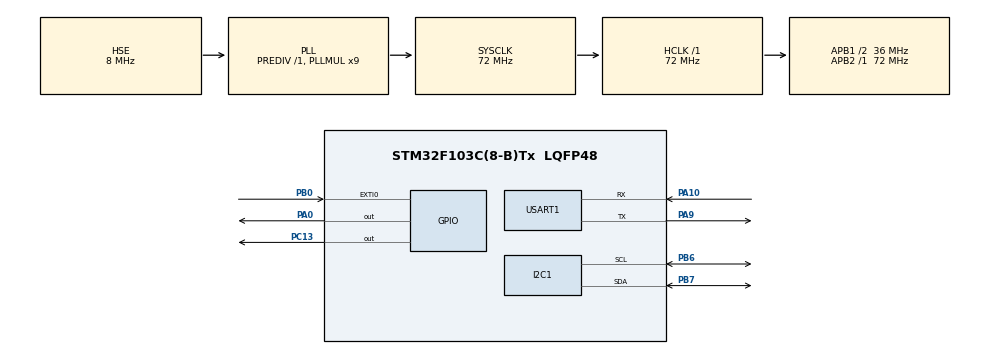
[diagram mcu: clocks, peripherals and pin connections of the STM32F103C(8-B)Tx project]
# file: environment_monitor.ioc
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FREERTOS.Tasks01=defaultTask,24,128,StartDefaultTask,Default,NULL,Dynamic,NULL,NULL
FREERTOS.configTOTAL_HEAP_SIZE=7168
Mcu.Family=STM32F1
Mcu.Name=STM32F103C(8-B)Tx
Mcu.Package=LQFP48
NVIC.EXTI0_IRQn=true\:8\:0\:true\:false\:true\:true\:true\:true\:true
NVIC.PriorityGroup=NVIC_PRIORITYGROUP_4
NVIC.TIM4_IRQn=true\:15\:0\:false\:false\:true\:false\:false\:true\:true
NVIC.TimeBase=TIM4_IRQn
NVIC.TimeBaseIP=TIM4
PA0-WKUP.GPIO_ModeDefaultOutputPP=GPIO_MODE_OUTPUT_OD
PA0-WKUP.GPIO_PuPd=GPIO_NOPULL
PA0-WKUP.GPIO_Speed=GPIO_SPEED_FREQ_HIGH
PA0-WKUP.PinState=GPIO_PIN_SET
PA0-WKUP.Signal=GPIO_Output
PA10.Mode=Asynchronous
PA10.Signal=USART1_RX
PA13.Mode=Serial_Wire
PA13.Signal=SYS_JTMS-SWDIO
PA14.Mode=Serial_Wire
PA14.Signal=SYS_JTCK-SWCLK
PA9.Mode=Asynchronous
PA9.Signal=USART1_TX
PB0.GPIO_ModeDefaultEXTI=GPIO_MODE_IT_RISING_FALLING
PB0.GPIO_PuPd=GPIO_PULLUP
PB0.Signal=GPXTI0
PB6.Mode=I2C
PB6.Signal=I2C1_SCL
PB7.Mode=I2C
PB7.Signal=I2C1_SDA
PC13-TAMPER-RTC.GPIO_ModeDefaultOutputPP=GPIO_MODE_OUTPUT_PP
PC13-TAMPER-RTC.GPIO_Speed=GPIO_SPEED_FREQ_HIGH
PC13-TAMPER-RTC.PinState=GPIO_PIN_SET
PC13-TAMPER-RTC.Signal=GPIO_Output
PD0-OSC_IN.Mode=HSE-External-Oscillator
PD0-OSC_IN.Signal=RCC_OSC_IN
PD1-OSC_OUT.Mode=HSE-External-Oscillator
PD1-OSC_OUT.Signal=RCC_OSC_OUT
ProjectManager.HeapSize=0x200
ProjectManager.StackSize=0x400
ProjectManager.TargetToolchain=MDK-ARM V5.32
RCC.AHBFreq_Value=72000000
RCC.APB1CLKDivider=RCC_HCLK_DIV2
RCC.APB1Freq_Value=36000000
RCC.APB1TimFreq_Value=72000000
RCC.APB2Freq_Value=72000000
RCC.APB2TimFreq_Value=72000000
RCC.HCLKFreq_Value=72000000
RCC.PLLMUL=RCC_PLL_MUL9
RCC.PLLSourceVirtual=RCC_PLLSOURCE_HSE
RCC.SYSCLKFreq_VALUE=72000000
RCC.SYSCLKSource=RCC_SYSCLKSOURCE_PLLCLK
RCC.USBFreq_Value=72000000
TIM1.AutoReloadPreload=TIM_AUTORELOAD_PRELOAD_ENABLE
TIM1.Period=65535
TIM1.Prescaler=71
TIM2.AutoReloadPreload=TIM_AUTORELOAD_PRELOAD_ENABLE
TIM2.Period=65535
TIM2.Prescaler=35999
USART1.VirtualMode=VM_ASYNC
VP_FREERTOS_VS_CMSIS_V2.Mode=CMSIS_V2
VP_SYS_VS_tim4.Mode=TIM4
VP_TIM1_VS_ClockSourceINT.Mode=Internal
VP_TIM2_VS_ClockSourceINT.Mode=Internal
board=custom

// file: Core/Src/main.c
/* USER CODE BEGIN Header */
/**
  ******************************************************************************
  * @file           : main.c
  * @brief          : Main program body
  ******************************************************************************
  * @attention
  *
  * Copyright (c) 2026 STMicroelectronics.
  * All rights reserved.
  *
  * This software is licensed under terms that can be found in the LICENSE file
  * in the root directory of this software component.
  * If no LICENSE file comes with this software, it is provided AS-IS.
  *
  ******************************************************************************
  */
/* USER CODE END Header */
#include "main.h"
#include "cmsis_os.h"
#include "i2c.h"
#include "tim.h"
#include "usart.h"
#include "gpio.h"

/* USER CODE BEGIN Includes */
#include "stm32f1xx_hal.h"
#include "driver_oled.h"
#include "driver_dht22.h"
#include "driver_key.h"
#include "queue.h"
#include <string.h>
/* USER CODE END Includes */

/* USER CODE BEGIN PV */

uint8_t g_u8KeyEventOccurs;
extern QueueHandle_t g_xKeyQueueHandle;
/* USER CODE END PV */

void SystemClock_Config(void);
void MX_FREERTOS_Init(void);

int main(void)
{

  /* MCU Configuration--------------------------------------------------------*/

  /* Reset of all peripherals, Initializes the Flash interface and the Systick. */
  HAL_Init();

  /* Configure the system clock */
  SystemClock_Config();

  /* Initialize all configured peripherals */
  MX_GPIO_Init();
  MX_TIM1_Init();
  MX_I2C1_Init();
  MX_USART1_UART_Init();
  MX_TIM2_Init();
  /* USER CODE BEGIN 2 */
  HAL_TIM_Base_Start(&htim1);
  HAL_TIM_Base_Start(&htim2);
  OLED_Init();
  HAL_Delay(2000); //等待传感器上电稳定
  /* USER CODE END 2 */

  /* Init scheduler */
  osKernelInitialize();  /* Call init function for freertos objects (in cmsis_os2.c) */
  MX_FREERTOS_Init();

  /* Start scheduler */
  osKernelStart();

  /* We should never get here as control is now taken by the scheduler */

  /* Infinite loop */
  while (1)
  {

    /* USER CODE BEGIN 3 */

    /*if(Get_Dht22_Data(&sensor_data))
    {
		float tmp = sensor_data.temperature/10.0f;
		float hum = sensor_data.humidity/10.0f;
		USART_Printf(&huart1, "Temperature:%0.1f \u00B0C\r\n",tmp);//℃的编码\u00B0C
		USART_Printf(&huart1, "Humidity:%0.1f %%RH\r\n",hum);
		USART_Printf(&huart1, "\r\n");
	}*/

	//HAL_Delay(2000);//采样周期

  }
  /* USER CODE END 3 */
}

void SystemClock_Config(void)
{
  RCC_OscInitTypeDef RCC_OscInitStruct = {0};
  RCC_ClkInitTypeDef RCC_ClkInitStruct = {0};

  /** Initializes the RCC Oscillators according to the specified parameters
  * in the RCC_OscInitTypeDef structure.
  */
  RCC_OscInitStruct.OscillatorType = RCC_OSCILLATORTYPE_HSE;
  RCC_OscInitStruct.HSEState = RCC_HSE_ON;
  RCC_OscInitStruct.HSEPredivValue = RCC_HSE_PREDIV_DIV1;
  RCC_OscInitStruct.HSIState = RCC_HSI_ON;
  RCC_OscInitStruct.PLL.PLLState = RCC_PLL_ON;
  RCC_OscInitStruct.PLL.PLLSource = RCC_PLLSOURCE_HSE;
  RCC_OscInitStruct.PLL.PLLMUL = RCC_PLL_MUL9;
  if (HAL_RCC_OscConfig(&RCC_OscInitStruct) != HAL_OK)
  {
    Error_Handler();
  }

  /** Initializes the CPU, AHB and APB buses clocks
  */
  RCC_ClkInitStruct.ClockType = RCC_CLOCKTYPE_HCLK|RCC_CLOCKTYPE_SYSCLK
                              |RCC_CLOCKTYPE_PCLK1|RCC_CLOCKTYPE_PCLK2;
  RCC_ClkInitStruct.SYSCLKSource = RCC_SYSCLKSOURCE_PLLCLK;
  RCC_ClkInitStruct.AHBCLKDivider = RCC_SYSCLK_DIV1;
  RCC_ClkInitStruct.APB1CLKDivider = RCC_HCLK_DIV2;
  RCC_ClkInitStruct.APB2CLKDivider = RCC_HCLK_DIV1;

  if (HAL_RCC_ClockConfig(&RCC_ClkInitStruct, FLASH_LATENCY_2) != HAL_OK)
  {
    Error_Handler();
  }
}

/* USER CODE BEGIN 4 */
void HAL_GPIO_EXTI_Callback(uint16_t GPIO_Pin)
{
	static Key_DataT idata = {0};
	static  uint16_t now = 0;
	static  uint16_t last_time = 0;

	now = __HAL_TIM_GET_COUNTER(&htim2);

	if(now - last_time < 40)//20ms，消抖
	{
		last_time = now;
		return;
	}

	last_time = now;

	//读取电平判断当前是按下还是松开事件
	if(HAL_GPIO_ReadPin(KEY_GPIO_PORT, KEY_GPIO_PIN) == GPIO_PIN_RESET)
	{
		idata.cnt = now;
		idata.event_type = KEY_EVENT_TYPE_PRESS;
		xQueueSendFromISR(g_xKeyQueueHandle, &idata, NULL);
	}
	else
	{
		//松开事件1s超时，不入队列
		if((now - idata.cnt) < 2000)
		{
			idata.cnt = now;
			idata.event_type = KEY_EVENT_TYPE_UNPRESS;
			xQueueSendFromISR(g_xKeyQueueHandle, &idata, NULL);
		}
		else //超时清除之前按下事件入队数据
			memset((uint8_t*)&idata, 0, sizeof(Key_DataT));
	}

}
/* USER CODE END 4 */

void HAL_TIM_PeriodElapsedCallback(TIM_HandleTypeDef *htim)
{
  if (htim->Instance == TIM4)
  {
    HAL_IncTick();
  }
}

void Error_Handler(void)
{
  __disable_irq();
  while (1)
  {
  }
}

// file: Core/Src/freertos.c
/* USER CODE BEGIN Header */
/**
  ******************************************************************************
  * File Name          : freertos.c
  * Description        : Code for freertos applications
  ******************************************************************************
  * @attention
  *
  * Copyright (c) 2026 STMicroelectronics.
  * All rights reserved.
  *
  * This software is licensed under terms that can be found in the LICENSE file
  * in the root directory of this software component.
  * If no LICENSE file comes with this software, it is provided AS-IS.
  *
  ******************************************************************************
  */
/* USER CODE END Header */

#include "FreeRTOS.h"
#include "task.h"
#include "main.h"
#include "cmsis_os.h"

/* USER CODE BEGIN Includes */
#include "queue.h"
#include "driver_key.h"
#include "driver_oled.h"
#include "driver_dht22.h"
#include "driver_led.h"
/* USER CODE END Includes */

/* USER CODE BEGIN Variables */
TaskHandle_t g_xSensorTaskHandle;
TaskHandle_t g_xOledTaskHandle;
TaskHandle_t g_xKeyTaskHandle;
TaskHandle_t g_xLedTaskHandle;

QueueHandle_t g_xOledQueueHandle;
QueueHandle_t g_xKeyQueueHandle;

extern char g_xStateList[][10];

/* USER CODE END Variables */
/* Definitions for defaultTask */
osThreadId_t defaultTaskHandle;
const osThreadAttr_t defaultTask_attributes = {
  .name = "defaultTask",
  .stack_size = 128 * 4,
  .priority = (osPriority_t) osPriorityNormal,
};

/* USER CODE BEGIN FunctionPrototypes */
void KeyTask(void* params);
void SensorTask(void* params);
void OledTask(void* params);
void LedTask(void* params);
/* USER CODE END FunctionPrototypes */

void StartDefaultTask(void *argument);

void MX_FREERTOS_Init(void); /* (MISRA C 2004 rule 8.1) */

void MX_FREERTOS_Init(void) {

  /* USER CODE BEGIN RTOS_QUEUES */
  /* add queues, ... */
	g_xOledQueueHandle = xQueueCreate(OLED_QUEUE_LENGTH, sizeof(Oled_DataT));
	g_xKeyQueueHandle = xQueueCreate(KEY_QUEUE_LEN, sizeof(Key_DataT));
  /* USER CODE END RTOS_QUEUES */

  /* Create the thread(s) */
  /* creation of defaultTask */
  defaultTaskHandle = osThreadNew(StartDefaultTask, NULL, &defaultTask_attributes);

  /* USER CODE BEGIN RTOS_THREADS */

  xTaskCreate(KeyTask, "KeyTask", 128, NULL, osPriorityNormal+1, &g_xKeyTaskHandle);
  xTaskCreate(SensorTask, "SensorTask", 128, NULL, osPriorityNormal+2, &g_xSensorTaskHandle);
  xTaskCreate(OledTask, "OledTask", 128, NULL, osPriorityNormal+1, &g_xOledTaskHandle);
  xTaskCreate(LedTask, "LedTask", 128, NULL, osPriorityNormal, &g_xLedTaskHandle);
  /* add threads, ... */
  /* USER CODE END RTOS_THREADS */

}

void StartDefaultTask(void *argument)
{
  /* USER CODE BEGIN StartDefaultTask */
  /* Infinite loop */
  vTaskDelete(NULL);
  for(;;)
  {
    osDelay(1);
  }
  /* USER CODE END StartDefaultTask */
}

/* USER CODE BEGIN Application */
void KeyTask(void* params)
{
	Key_DataT rdata;
	Oled_DataT idata;
	uint16_t pre_time;
	uint8_t key_event = 0;

	while(1)
	{
		xQueueReceive(g_xKeyQueueHandle, &rdata, portMAX_DELAY); //等待按下事件

		if(rdata.event_type == KEY_EVENT_TYPE_PRESS)//按下事件
		{
			pre_time = rdata.cnt;   //记录按下事件的时间戳

			//等待松开事件,松开事件1s超时
			if(xQueueReceive(g_xKeyQueueHandle, &rdata, KEY_EVENT_TIME_OUT))
			{
				if(rdata.cnt - pre_time < KEY_LONG_PRESS_TIME)//短按事件
					key_event = KEY_EVENT_SHORT_PRESS;
				else //长按事件
					key_event = KEY_EVENT_LONG_PRESS;
			}
			else//超时事件
				key_event = KEY_EVENT_LONG_PRESS;
		}

		 //当前发生短按事件且采集任务处于挂起
		if(key_event == KEY_EVENT_SHORT_PRESS && eTaskGetState(g_xSensorTaskHandle) == eSuspended)//若当前任务被挂起
			vTaskResume(g_xSensorTaskHandle);

		//超时将强制为长按事件，长按挂起传感器任务
		if(key_event == KEY_EVENT_LONG_PRESS && eTaskGetState(g_xSensorTaskHandle) != eSuspended)
		{
			idata.mState = SYS_STATE_STOPPED;
			vTaskSuspend(g_xSensorTaskHandle);
			xQueueSend(g_xOledQueueHandle, &idata, portMAX_DELAY);
		}

		if(key_event != 0)
		{
			//清除状态数据
			key_event = 0;
			pre_time = 0;
			key_event = 0;
		}

		vTaskDelay(1);

	}
}

void SensorTask(void* params)
{
	dht22_dataT sensor_data;
	Oled_DataT idata;

	idata.mState = SYS_STATE_READY;
	xQueueSend(g_xOledQueueHandle, &idata, 0);
	vTaskSuspend(NULL);

	while(1)
	{
		if(Get_Dht22_Data(&sensor_data))
		{
			if(sensor_data.humidity == 0 || sensor_data.temperature == 0)
				continue;

			idata.mState = SYS_STATE_RUNNING;
			idata.hum = sensor_data.humidity;
			idata.tmp = sensor_data.temperature;
			xQueueSend(g_xOledQueueHandle, &idata, 0);
			xTaskNotify(g_xLedTaskHandle, idata.tmp, eSetValueWithOverwrite);
		}

		vTaskDelay(2000);
	}

}

void OledTask(void* params)
{
	Oled_DataT rdata;
	char* pcState;
	float tmp = 0;
	float hum = 0;

	while(1)
	{
		xQueueReceive(g_xOledQueueHandle, &rdata,portMAX_DELAY);
		pcState = (char*)&g_xStateList[rdata.mState - 1];
		OLED_Clear();
		OLED_ShowString(0, 0, "State:");

		switch(rdata.mState)
		{
			case SYS_STATE_RUNNING:
			{
				tmp = rdata.tmp/10.0f;
				hum = rdata.hum/10.0f;
				OLED_ShowString(48, 0, pcState);
				OLED_ShowString(0, 16, "Tmp:      C");
				OLED_ShowFloat(32, 16, tmp, 1);
				OLED_ShowChar(72, 16, SYM_DEGREE);
				OLED_ShowString(0, 32, "Hum:     %RH");
				OLED_ShowFloat(32, 32, hum, 1);
				break;
			}

			case SYS_STATE_STOPPED:
			{
				OLED_ShowString(48, 0, pcState);
				break;
			}

			case SYS_STATE_READY:
			{
				OLED_ShowString(48, 0, pcState);
				break;
			}
		}

		vTaskDelay(5);
	}
}

/**
*
*/
void LedTask(void* params)
{
	uint8_t ledSate = 0;
	uint32_t t;
	float tmp;

	while(1)
	{
		xTaskNotifyWait(0, 0x0000FFFF, &t, portMAX_DELAY);
		tmp = t / 10.0f;

		if((tmp > HIGH_TEMPERURATUE_LIMIT) && ledSate != LED_LIGHT)
			ledSate = LED_LIGHT;

		if((tmp <= HIGH_TEMPERURATUE_LIMIT) && ledSate == LED_LIGHT)
			ledSate = 0;

		if(ledSate == LED_LIGHT)
			LED_TOGGLE();
		else
			LED_OFF();

		vTaskDelay(5);
	}
}

/* USER CODE END Application */
